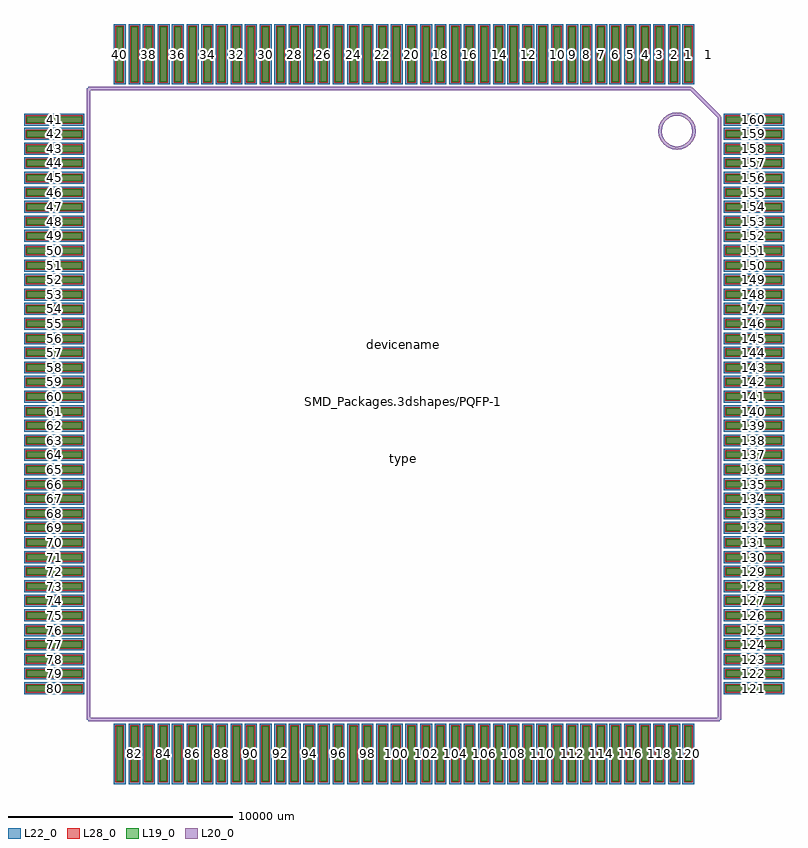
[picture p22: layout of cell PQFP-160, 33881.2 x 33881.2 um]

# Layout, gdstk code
import gdstk
lib = gdstk.Library(unit=1e-6, precision=1e-09)
def R(c, l, rs):  # rectangles x0, y0, x1, y1
    for r in rs: c.add(gdstk.rectangle(r[:2], r[2:], *l))
def A(c, l, x, y, w, h, nx, ny, dx, dy):  # array of equal rectangles
    R(c, l, [(x+i*dx, y+j*dy, x+i*dx+w, y+j*dy+h) for i in range(nx) for j in range(ny)])
L19_0 = (19, 0)
L20_0 = (20, 0)
L22_0 = (22, 0)
L28_0 = (28, 0)

pqfp_160 = lib.new_cell('PQFP-160')
A(pqfp_160, L19_0, -10198.9, -16917.2, 281, 2440, 3, 2, 660.4, 31191.2)
A(pqfp_160, L19_0, -6947.7, -16917.2, 281, 2440, 3, 2, 660.4, 31191.2)
A(pqfp_160, L19_0, -3696.5, -16917.2, 281, 2440, 3, 2, 660.4, 31191.2)
A(pqfp_160, L19_0, -445.3, -16917.2, 281, 2440, 3, 2, 660.4, 31191.2)
A(pqfp_160, L19_0, 2805.9, -16917.2, 281, 2440, 3, 2, 660.4, 31191.2)
A(pqfp_160, L19_0, 6057.1, -16917.2, 281, 2440, 3, 2, 660.4, 31191.2)
A(pqfp_160, L19_0, 9308.3, -16917.2, 281, 2440, 3, 2, 660.4, 31191.2)
A(pqfp_160, L19_0, -16790.2, -10325.9, 2440, 281, 1, 3, 0, 660.4)
A(pqfp_160, L19_0, 14401, -10325.9, 2440, 281, 1, 3, 0, 660.4)
A(pqfp_160, L19_0, -16790.2, -7074.7, 2440, 281, 1, 3, 0, 660.4)
A(pqfp_160, L19_0, 14401, -7074.7, 2440, 281, 1, 3, 0, 660.4)
A(pqfp_160, L19_0, -16790.2, -3823.5, 2440, 281, 1, 3, 0, 660.4)
A(pqfp_160, L19_0, 14401, -3823.5, 2440, 281, 1, 3, 0, 660.4)
A(pqfp_160, L19_0, -16790.2, -572.3, 2440, 281, 1, 3, 0, 660.4)
A(pqfp_160, L19_0, 14401, -572.3, 2440, 281, 1, 3, 0, 660.4)
A(pqfp_160, L19_0, -16790.2, 2678.9, 2440, 281, 1, 3, 0, 660.4)
A(pqfp_160, L19_0, 14401, 2678.9, 2440, 281, 1, 3, 0, 660.4)
A(pqfp_160, L19_0, -16790.2, 5930.1, 2440, 281, 1, 3, 0, 660.4)
A(pqfp_160, L19_0, 14401, 5930.1, 2440, 281, 1, 3, 0, 660.4)
A(pqfp_160, L19_0, -16790.2, 9181.3, 2440, 281, 1, 3, 0, 660.4)
A(pqfp_160, L19_0, 14401, 9181.3, 2440, 281, 1, 3, 0, 660.4)
R(pqfp_160, L19_0, [(-12789.7,-16917.2,-12508.7,-14477.2), (-12129.3,-16917.2,-11848.3,-14477.2), (-11494.3,-16917.2,-11213.3,-14477.2), (-10833.9,-16917.2,-10552.9,-14477.2), (-8243.1,-16917.2,-7962.1,-14477.2), (-7582.7,-16917.2,-7301.7,-14477.2), (-4991.9,-16917.2,-4710.9,-14477.2), (-4331.5,-16917.2,-4050.5,-14477.2), (-1740.7,-16917.2,-1459.7,-14477.2), (-1080.3,-16917.2,-799.3,-14477.2), (1510.5,-16917.2,1791.5,-14477.2), (2170.9,-16917.2,2451.9,-14477.2), (4761.7,-16917.2,5042.7,-14477.2), (5422.1,-16917.2,5703.1,-14477.2), (8012.9,-16917.2,8293.9,-14477.2), (8673.3,-16917.2,8954.3,-14477.2), (11264.1,-16917.2,11545.1,-14477.2), (11924.5,-16917.2,12205.5,-14477.2), (12559.5,-16917.2,12840.5,-14477.2), (-16790.2,-12916.7,-14350.2,-12635.7), (14401,-12916.7,16841,-12635.7), (-16790.2,-12256.3,-14350.2,-11975.3), (14401,-12256.3,16841,-11975.3), (-16790.2,-11621.3,-14350.2,-11340.3), (14401,-11621.3,16841,-11340.3), (-16790.2,-10960.9,-14350.2,-10679.9), (14401,-10960.9,16841,-10679.9), (-16790.2,-8370.1,-14350.2,-8089.1), (14401,-8370.1,16841,-8089.1), (-16790.2,-7709.7,-14350.2,-7428.7), (14401,-7709.7,16841,-7428.7), (-16790.2,-5118.9,-14350.2,-4837.9), (14401,-5118.9,16841,-4837.9), (-16790.2,-4458.5,-14350.2,-4177.5), (14401,-4458.5,16841,-4177.5), (-16790.2,-1867.7,-14350.2,-1586.7), (14401,-1867.7,16841,-1586.7), (-16790.2,-1207.3,-14350.2,-926.3), (14401,-1207.3,16841,-926.3), (-16790.2,1383.5,-14350.2,1664.5), (14401,1383.5,16841,1664.5), (-16790.2,2043.9,-14350.2,2324.9), (14401,2043.9,16841,2324.9), (-16790.2,4634.7,-14350.2,4915.7), (14401,4634.7,16841,4915.7), (-16790.2,5295.1,-14350.2,5576.1), (14401,5295.1,16841,5576.1), (-16790.2,7885.9,-14350.2,8166.9), (14401,7885.9,16841,8166.9), (-16790.2,8546.3,-14350.2,8827.3), (14401,8546.3,16841,8827.3), (-16790.2,11137.1,-14350.2,11418.1), (14401,11137.1,16841,11418.1), (-16790.2,11797.5,-14350.2,12078.5), (14401,11797.5,16841,12078.5), (-16790.2,12432.5,-14350.2,12713.5), (14401,12432.5,16841,12713.5), (-12789.7,14274,-12508.7,16714), (-12129.3,14274,-11848.3,16714), (-11494.3,14274,-11213.3,16714), (-10833.9,14274,-10552.9,16714), (-8243.1,14274,-7962.1,16714), (-7582.7,14274,-7301.7,16714), (-4991.9,14274,-4710.9,16714), (-4331.5,14274,-4050.5,16714), (-1740.7,14274,-1459.7,16714), (-1080.3,14274,-799.3,16714), (1510.5,14274,1791.5,16714), (2170.9,14274,2451.9,16714), (4761.7,14274,5042.7,16714), (5422.1,14274,5703.1,16714), (8012.9,14274,8293.9,16714), (8673.3,14274,8954.3,16714), (11264.1,14274,11545.1,16714), (11924.5,14274,12205.5,16714), (12559.5,14274,12840.5,16714)])
A(pqfp_160, L22_0, -10323.9, -17042.2, 531, 2690, 3, 2, 660.4, 31191.2)
A(pqfp_160, L22_0, -7072.7, -17042.2, 531, 2690, 3, 2, 660.4, 31191.2)
A(pqfp_160, L22_0, -3821.5, -17042.2, 531, 2690, 3, 2, 660.4, 31191.2)
A(pqfp_160, L22_0, -570.3, -17042.2, 531, 2690, 3, 2, 660.4, 31191.2)
A(pqfp_160, L22_0, 2680.9, -17042.2, 531, 2690, 3, 2, 660.4, 31191.2)
A(pqfp_160, L22_0, 5932.1, -17042.2, 531, 2690, 3, 2, 660.4, 31191.2)
A(pqfp_160, L22_0, 9183.3, -17042.2, 531, 2690, 3, 2, 660.4, 31191.2)
A(pqfp_160, L22_0, -16915.2, -10450.9, 2690, 531, 1, 3, 0, 660.4)
A(pqfp_160, L22_0, 14276, -10450.9, 2690, 531, 1, 3, 0, 660.4)
A(pqfp_160, L22_0, -16915.2, -7199.7, 2690, 531, 1, 3, 0, 660.4)
A(pqfp_160, L22_0, 14276, -7199.7, 2690, 531, 1, 3, 0, 660.4)
A(pqfp_160, L22_0, -16915.2, -3948.5, 2690, 531, 1, 3, 0, 660.4)
A(pqfp_160, L22_0, 14276, -3948.5, 2690, 531, 1, 3, 0, 660.4)
A(pqfp_160, L22_0, -16915.2, -697.3, 2690, 531, 1, 3, 0, 660.4)
A(pqfp_160, L22_0, 14276, -697.3, 2690, 531, 1, 3, 0, 660.4)
A(pqfp_160, L22_0, -16915.2, 2553.9, 2690, 531, 1, 3, 0, 660.4)
A(pqfp_160, L22_0, 14276, 2553.9, 2690, 531, 1, 3, 0, 660.4)
A(pqfp_160, L22_0, -16915.2, 5805.1, 2690, 531, 1, 3, 0, 660.4)
A(pqfp_160, L22_0, 14276, 5805.1, 2690, 531, 1, 3, 0, 660.4)
A(pqfp_160, L22_0, -16915.2, 9056.3, 2690, 531, 1, 3, 0, 660.4)
A(pqfp_160, L22_0, 14276, 9056.3, 2690, 531, 1, 3, 0, 660.4)
R(pqfp_160, L22_0, [(-12914.7,-17042.2,-12383.7,-14352.2), (-12254.3,-17042.2,-11723.3,-14352.2), (-11619.3,-17042.2,-11088.3,-14352.2), (-10958.9,-17042.2,-10427.9,-14352.2), (-8368.1,-17042.2,-7837.1,-14352.2), (-7707.7,-17042.2,-7176.7,-14352.2), (-5116.9,-17042.2,-4585.9,-14352.2), (-4456.5,-17042.2,-3925.5,-14352.2), (-1865.7,-17042.2,-1334.7,-14352.2), (-1205.3,-17042.2,-674.3,-14352.2), (1385.5,-17042.2,1916.5,-14352.2), (2045.9,-17042.2,2576.9,-14352.2), (4636.7,-17042.2,5167.7,-14352.2), (5297.1,-17042.2,5828.1,-14352.2), (7887.9,-17042.2,8418.9,-14352.2), (8548.3,-17042.2,9079.3,-14352.2), (11139.1,-17042.2,11670.1,-14352.2), (11799.5,-17042.2,12330.5,-14352.2), (12434.5,-17042.2,12965.5,-14352.2), (-16915.2,-13041.7,-14225.2,-12510.7), (14276,-13041.7,16966,-12510.7), (-16915.2,-12381.3,-14225.2,-11850.3), (14276,-12381.3,16966,-11850.3), (-16915.2,-11746.3,-14225.2,-11215.3), (14276,-11746.3,16966,-11215.3), (-16915.2,-11085.9,-14225.2,-10554.9), (14276,-11085.9,16966,-10554.9), (-16915.2,-8495.1,-14225.2,-7964.1), (14276,-8495.1,16966,-7964.1), (-16915.2,-7834.7,-14225.2,-7303.7), (14276,-7834.7,16966,-7303.7), (-16915.2,-5243.9,-14225.2,-4712.9), (14276,-5243.9,16966,-4712.9), (-16915.2,-4583.5,-14225.2,-4052.5), (14276,-4583.5,16966,-4052.5), (-16915.2,-1992.7,-14225.2,-1461.7), (14276,-1992.7,16966,-1461.7), (-16915.2,-1332.3,-14225.2,-801.3), (14276,-1332.3,16966,-801.3), (-16915.2,1258.5,-14225.2,1789.5), (14276,1258.5,16966,1789.5), (-16915.2,1918.9,-14225.2,2449.9), (14276,1918.9,16966,2449.9), (-16915.2,4509.7,-14225.2,5040.7), (14276,4509.7,16966,5040.7), (-16915.2,5170.1,-14225.2,5701.1), (14276,5170.1,16966,5701.1), (-16915.2,7760.9,-14225.2,8291.9), (14276,7760.9,16966,8291.9), (-16915.2,8421.3,-14225.2,8952.3), (14276,8421.3,16966,8952.3), (-16915.2,11012.1,-14225.2,11543.1), (14276,11012.1,16966,11543.1), (-16915.2,11672.5,-14225.2,12203.5), (14276,11672.5,16966,12203.5), (-16915.2,12307.5,-14225.2,12838.5), (14276,12307.5,16966,12838.5), (-12914.7,14149,-12383.7,16839), (-12254.3,14149,-11723.3,16839), (-11619.3,14149,-11088.3,16839), (-10958.9,14149,-10427.9,16839), (-8368.1,14149,-7837.1,16839), (-7707.7,14149,-7176.7,16839), (-5116.9,14149,-4585.9,16839), (-4456.5,14149,-3925.5,16839), (-1865.7,14149,-1334.7,16839), (-1205.3,14149,-674.3,16839), (1385.5,14149,1916.5,16839), (2045.9,14149,2576.9,16839), (4636.7,14149,5167.7,16839), (5297.1,14149,5828.1,16839), (7887.9,14149,8418.9,16839), (8548.3,14149,9079.3,16839), (11139.1,14149,11670.1,16839), (11799.5,14149,12330.5,16839), (12434.5,14149,12965.5,16839)])
A(pqfp_160, L28_0, -10248.9, -16967.2, 381, 2540, 3, 2, 660.4, 31191.2)
A(pqfp_160, L28_0, -6997.7, -16967.2, 381, 2540, 3, 2, 660.4, 31191.2)
A(pqfp_160, L28_0, -3746.5, -16967.2, 381, 2540, 3, 2, 660.4, 31191.2)
A(pqfp_160, L28_0, -495.3, -16967.2, 381, 2540, 3, 2, 660.4, 31191.2)
A(pqfp_160, L28_0, 2755.9, -16967.2, 381, 2540, 3, 2, 660.4, 31191.2)
A(pqfp_160, L28_0, 6007.1, -16967.2, 381, 2540, 3, 2, 660.4, 31191.2)
A(pqfp_160, L28_0, 9258.3, -16967.2, 381, 2540, 3, 2, 660.4, 31191.2)
A(pqfp_160, L28_0, -16840.2, -10375.9, 2540, 381, 1, 3, 0, 660.4)
A(pqfp_160, L28_0, 14351, -10375.9, 2540, 381, 1, 3, 0, 660.4)
A(pqfp_160, L28_0, -16840.2, -7124.7, 2540, 381, 1, 3, 0, 660.4)
A(pqfp_160, L28_0, 14351, -7124.7, 2540, 381, 1, 3, 0, 660.4)
A(pqfp_160, L28_0, -16840.2, -3873.5, 2540, 381, 1, 3, 0, 660.4)
A(pqfp_160, L28_0, 14351, -3873.5, 2540, 381, 1, 3, 0, 660.4)
A(pqfp_160, L28_0, -16840.2, -622.3, 2540, 381, 1, 3, 0, 660.4)
A(pqfp_160, L28_0, 14351, -622.3, 2540, 381, 1, 3, 0, 660.4)
A(pqfp_160, L28_0, -16840.2, 2628.9, 2540, 381, 1, 3, 0, 660.4)
A(pqfp_160, L28_0, 14351, 2628.9, 2540, 381, 1, 3, 0, 660.4)
A(pqfp_160, L28_0, -16840.2, 5880.1, 2540, 381, 1, 3, 0, 660.4)
A(pqfp_160, L28_0, 14351, 5880.1, 2540, 381, 1, 3, 0, 660.4)
A(pqfp_160, L28_0, -16840.2, 9131.3, 2540, 381, 1, 3, 0, 660.4)
A(pqfp_160, L28_0, 14351, 9131.3, 2540, 381, 1, 3, 0, 660.4)
R(pqfp_160, L28_0, [(-12839.7,-16967.2,-12458.7,-14427.2), (-12179.3,-16967.2,-11798.3,-14427.2), (-11544.3,-16967.2,-11163.3,-14427.2), (-10883.9,-16967.2,-10502.9,-14427.2), (-8293.1,-16967.2,-7912.1,-14427.2), (-7632.7,-16967.2,-7251.7,-14427.2), (-5041.9,-16967.2,-4660.9,-14427.2), (-4381.5,-16967.2,-4000.5,-14427.2), (-1790.7,-16967.2,-1409.7,-14427.2), (-1130.3,-16967.2,-749.3,-14427.2), (1460.5,-16967.2,1841.5,-14427.2), (2120.9,-16967.2,2501.9,-14427.2), (4711.7,-16967.2,5092.7,-14427.2), (5372.1,-16967.2,5753.1,-14427.2), (7962.9,-16967.2,8343.9,-14427.2), (8623.3,-16967.2,9004.3,-14427.2), (11214.1,-16967.2,11595.1,-14427.2), (11874.5,-16967.2,12255.5,-14427.2), (12509.5,-16967.2,12890.5,-14427.2), (-16840.2,-12966.7,-14300.2,-12585.7), (14351,-12966.7,16891,-12585.7), (-16840.2,-12306.3,-14300.2,-11925.3), (14351,-12306.3,16891,-11925.3), (-16840.2,-11671.3,-14300.2,-11290.3), (14351,-11671.3,16891,-11290.3), (-16840.2,-11010.9,-14300.2,-10629.9), (14351,-11010.9,16891,-10629.9), (-16840.2,-8420.1,-14300.2,-8039.1), (14351,-8420.1,16891,-8039.1), (-16840.2,-7759.7,-14300.2,-7378.7), (14351,-7759.7,16891,-7378.7), (-16840.2,-5168.9,-14300.2,-4787.9), (14351,-5168.9,16891,-4787.9), (-16840.2,-4508.5,-14300.2,-4127.5), (14351,-4508.5,16891,-4127.5), (-16840.2,-1917.7,-14300.2,-1536.7), (14351,-1917.7,16891,-1536.7), (-16840.2,-1257.3,-14300.2,-876.3), (14351,-1257.3,16891,-876.3), (-16840.2,1333.5,-14300.2,1714.5), (14351,1333.5,16891,1714.5), (-16840.2,1993.9,-14300.2,2374.9), (14351,1993.9,16891,2374.9), (-16840.2,4584.7,-14300.2,4965.7), (14351,4584.7,16891,4965.7), (-16840.2,5245.1,-14300.2,5626.1), (14351,5245.1,16891,5626.1), (-16840.2,7835.9,-14300.2,8216.9), (14351,7835.9,16891,8216.9), (-16840.2,8496.3,-14300.2,8877.3), (14351,8496.3,16891,8877.3), (-16840.2,11087.1,-14300.2,11468.1), (14351,11087.1,16891,11468.1), (-16840.2,11747.5,-14300.2,12128.5), (14351,11747.5,16891,12128.5), (-16840.2,12382.5,-14300.2,12763.5), (14351,12382.5,16891,12763.5), (-12839.7,14224,-12458.7,16764), (-12179.3,14224,-11798.3,16764), (-11544.3,14224,-11163.3,16764), (-10883.9,14224,-10502.9,16764), (-8293.1,14224,-7912.1,16764), (-7632.7,14224,-7251.7,16764), (-5041.9,14224,-4660.9,16764), (-4381.5,14224,-4000.5,16764), (-1790.7,14224,-1409.7,16764), (-1130.3,14224,-749.3,16764), (1460.5,14224,1841.5,16764), (2120.9,14224,2501.9,16764), (4711.7,14224,5092.7,16764), (5372.1,14224,5753.1,16764), (7962.9,14224,8343.9,16764), (8623.3,14224,9004.3,16764), (11214.1,14224,11595.1,16764), (11874.5,14224,12255.5,16764), (12509.5,14224,12890.5,16764)])
pqfp_160.add(gdstk.FlexPath([(12192,11303),(12389.22,11328.965),(12573,11405.089),(12730.815,11526.185),(12851.911,11684),(12928.035,11867.78),(12954,12065),(12928.035,12262.22),(12851.911,12446),(12730.815,12603.815),(12573,12724.911),(12389.22,12801.035),(12192,12827),(11994.78,12801.035),(11811,12724.911),(11653.185,12603.815),(11532.089,12446),(11455.965,12262.22),(11430,12065),(11455.965,11867.78),(11532.089,11684),(11653.185,11526.185),(11811,11405.089),(11994.78,11328.965),(12192,11303)], 149.998, ends="flush", simple_path=True, layer=20, datatype=0))  # L20_0
pqfp_160.add(gdstk.FlexPath([(14097,-14173.2),(14097,12700)], 149.998, ends="flush", simple_path=True, layer=20, datatype=0))  # L20_0
pqfp_160.add(gdstk.FlexPath([(-14046.2,13970),(-14046.2,-14173.2)], 149.998, ends="flush", simple_path=True, layer=20, datatype=0))  # L20_0
pqfp_160.add(gdstk.FlexPath([(12827,13970),(-14046.2,13970)], 149.998, ends="flush", simple_path=True, layer=20, datatype=0))  # L20_0
pqfp_160.add(gdstk.FlexPath([(-14046.2,-14173.2),(14097,-14173.2)], 149.998, ends="flush", simple_path=True, layer=20, datatype=0))  # L20_0
pqfp_160.add(gdstk.FlexPath([(12827,13970),(14097,12700)], 149.998, ends="flush", simple_path=True, layer=20, datatype=0))  # L20_0
pqfp_160.add(gdstk.Label('SMD_Packages.3dshapes/PQFP-160.wrl', (0,0), layer=12, texttype=0))
pqfp_160.add(gdstk.Label('120', (12700,-15697.2), layer=28, texttype=0))
pqfp_160.add(gdstk.Label('119', (12065,-15697.2), layer=28, texttype=0))
pqfp_160.add(gdstk.Label('118', (11404.6,-15697.2), layer=28, texttype=0))
pqfp_160.add(gdstk.Label('117', (10769.6,-15697.2), layer=28, texttype=0))
pqfp_160.add(gdstk.Label('116', (10109.2,-15697.2), layer=28, texttype=0))
pqfp_160.add(gdstk.Label('115', (9448.8,-15697.2), layer=28, texttype=0))
pqfp_160.add(gdstk.Label('114', (8813.8,-15697.2), layer=28, texttype=0))
pqfp_160.add(gdstk.Label('113', (8153.4,-15697.2), layer=28, texttype=0))
pqfp_160.add(gdstk.Label('112', (7518.4,-15697.2), layer=28, texttype=0))
pqfp_160.add(gdstk.Label('111', (6858,-15697.2), layer=28, texttype=0))
pqfp_160.add(gdstk.Label('110', (6197.6,-15697.2), layer=28, texttype=0))
pqfp_160.add(gdstk.Label('109', (5562.6,-15697.2), layer=28, texttype=0))
pqfp_160.add(gdstk.Label('108', (4902.2,-15697.2), layer=28, texttype=0))
pqfp_160.add(gdstk.Label('107', (4267.2,-15697.2), layer=28, texttype=0))
pqfp_160.add(gdstk.Label('106', (3606.8,-15697.2), layer=28, texttype=0))
pqfp_160.add(gdstk.Label('105', (2946.4,-15697.2), layer=28, texttype=0))
pqfp_160.add(gdstk.Label('104', (2311.4,-15697.2), layer=28, texttype=0))
pqfp_160.add(gdstk.Label('103', (1651,-15697.2), layer=28, texttype=0))
pqfp_160.add(gdstk.Label('102', (1016,-15697.2), layer=28, texttype=0))
pqfp_160.add(gdstk.Label('101', (355.6,-15697.2), layer=28, texttype=0))
pqfp_160.add(gdstk.Label('100', (-304.8,-15697.2), layer=28, texttype=0))
pqfp_160.add(gdstk.Label('99', (-939.8,-15697.2), layer=28, texttype=0))
pqfp_160.add(gdstk.Label('98', (-1600.2,-15697.2), layer=28, texttype=0))
pqfp_160.add(gdstk.Label('97', (-2235.2,-15697.2), layer=28, texttype=0))
pqfp_160.add(gdstk.Label('96', (-2895.6,-15697.2), layer=28, texttype=0))
pqfp_160.add(gdstk.Label('95', (-3556,-15697.2), layer=28, texttype=0))
pqfp_160.add(gdstk.Label('94', (-4191,-15697.2), layer=28, texttype=0))
pqfp_160.add(gdstk.Label('93', (-4851.4,-15697.2), layer=28, texttype=0))
pqfp_160.add(gdstk.Label('92', (-5486.4,-15697.2), layer=28, texttype=0))
pqfp_160.add(gdstk.Label('91', (-6146.8,-15697.2), layer=28, texttype=0))
pqfp_160.add(gdstk.Label('90', (-6807.2,-15697.2), layer=28, texttype=0))
pqfp_160.add(gdstk.Label('89', (-7442.2,-15697.2), layer=28, texttype=0))
pqfp_160.add(gdstk.Label('88', (-8102.6,-15697.2), layer=28, texttype=0))
pqfp_160.add(gdstk.Label('87', (-8737.6,-15697.2), layer=28, texttype=0))
pqfp_160.add(gdstk.Label('86', (-9398,-15697.2), layer=28, texttype=0))
pqfp_160.add(gdstk.Label('85', (-10058.4,-15697.2), layer=28, texttype=0))
pqfp_160.add(gdstk.Label('84', (-10693.4,-15697.2), layer=28, texttype=0))
pqfp_160.add(gdstk.Label('83', (-11353.8,-15697.2), layer=28, texttype=0))
pqfp_160.add(gdstk.Label('82', (-11988.8,-15697.2), layer=28, texttype=0))
pqfp_160.add(gdstk.Label('81', (-12649.2,-15697.2), layer=28, texttype=0))
pqfp_160.add(gdstk.Label('160', (15621,12573), layer=28, texttype=0))
pqfp_160.add(gdstk.Label('159', (15621,11938), layer=28, texttype=0))
pqfp_160.add(gdstk.Label('158', (15621,11277.6), layer=28, texttype=0))
pqfp_160.add(gdstk.Label('157', (15621,10642.6), layer=28, texttype=0))
pqfp_160.add(gdstk.Label('156', (15621,9982.2), layer=28, texttype=0))
pqfp_160.add(gdstk.Label('155', (15621,9321.8), layer=28, texttype=0))
pqfp_160.add(gdstk.Label('154', (15621,8686.8), layer=28, texttype=0))
pqfp_160.add(gdstk.Label('153', (15621,8026.4), layer=28, texttype=0))
pqfp_160.add(gdstk.Label('152', (15621,7391.4), layer=28, texttype=0))
pqfp_160.add(gdstk.Label('151', (15621,6731), layer=28, texttype=0))
pqfp_160.add(gdstk.Label('150', (15621,6070.6), layer=28, texttype=0))
pqfp_160.add(gdstk.Label('149', (15621,5435.6), layer=28, texttype=0))
pqfp_160.add(gdstk.Label('148', (15621,4775.2), layer=28, texttype=0))
pqfp_160.add(gdstk.Label('147', (15621,4140.2), layer=28, texttype=0))
pqfp_160.add(gdstk.Label('146', (15621,3479.8), layer=28, texttype=0))
pqfp_160.add(gdstk.Label('145', (15621,2819.4), layer=28, texttype=0))
pqfp_160.add(gdstk.Label('144', (15621,2184.4), layer=28, texttype=0))
pqfp_160.add(gdstk.Label('143', (15621,1524), layer=28, texttype=0))
pqfp_160.add(gdstk.Label('142', (15621,889), layer=28, texttype=0))
pqfp_160.add(gdstk.Label('141', (15621,228.6), layer=28, texttype=0))
pqfp_160.add(gdstk.Label('140', (15621,-431.8), layer=28, texttype=0))
pqfp_160.add(gdstk.Label('139', (15621,-1066.8), layer=28, texttype=0))
pqfp_160.add(gdstk.Label('138', (15621,-1727.2), layer=28, texttype=0))
pqfp_160.add(gdstk.Label('137', (15621,-2362.2), layer=28, texttype=0))
pqfp_160.add(gdstk.Label('136', (15621,-3022.6), layer=28, texttype=0))
pqfp_160.add(gdstk.Label('135', (15621,-3683), layer=28, texttype=0))
pqfp_160.add(gdstk.Label('134', (15621,-4318), layer=28, texttype=0))
pqfp_160.add(gdstk.Label('133', (15621,-4978.4), layer=28, texttype=0))
pqfp_160.add(gdstk.Label('132', (15621,-5613.4), layer=28, texttype=0))
pqfp_160.add(gdstk.Label('131', (15621,-6273.8), layer=28, texttype=0))
pqfp_160.add(gdstk.Label('130', (15621,-6934.2), layer=28, texttype=0))
pqfp_160.add(gdstk.Label('129', (15621,-7569.2), layer=28, texttype=0))
pqfp_160.add(gdstk.Label('128', (15621,-8229.6), layer=28, texttype=0))
pqfp_160.add(gdstk.Label('127', (15621,-8864.6), layer=28, texttype=0))
pqfp_160.add(gdstk.Label('126', (15621,-9525), layer=28, texttype=0))
pqfp_160.add(gdstk.Label('125', (15621,-10185.4), layer=28, texttype=0))
pqfp_160.add(gdstk.Label('124', (15621,-10820.4), layer=28, texttype=0))
pqfp_160.add(gdstk.Label('123', (15621,-11480.8), layer=28, texttype=0))
pqfp_160.add(gdstk.Label('122', (15621,-12115.8), layer=28, texttype=0))
pqfp_160.add(gdstk.Label('121', (15621,-12776.2), layer=28, texttype=0))
pqfp_160.add(gdstk.Label('80', (-15570.2,-12776.2), layer=28, texttype=0))
pqfp_160.add(gdstk.Label('79', (-15570.2,-12115.8), layer=28, texttype=0))
pqfp_160.add(gdstk.Label('78', (-15570.2,-11480.8), layer=28, texttype=0))
pqfp_160.add(gdstk.Label('77', (-15570.2,-10820.4), layer=28, texttype=0))
pqfp_160.add(gdstk.Label('76', (-15570.2,-10185.4), layer=28, texttype=0))
pqfp_160.add(gdstk.Label('75', (-15570.2,-9525), layer=28, texttype=0))
pqfp_160.add(gdstk.Label('74', (-15570.2,-8864.6), layer=28, texttype=0))
pqfp_160.add(gdstk.Label('73', (-15570.2,-8229.6), layer=28, texttype=0))
pqfp_160.add(gdstk.Label('72', (-15570.2,-7569.2), layer=28, texttype=0))
pqfp_160.add(gdstk.Label('71', (-15570.2,-6934.2), layer=28, texttype=0))
pqfp_160.add(gdstk.Label('70', (-15570.2,-6273.8), layer=28, texttype=0))
pqfp_160.add(gdstk.Label('69', (-15570.2,-5613.4), layer=28, texttype=0))
pqfp_160.add(gdstk.Label('68', (-15570.2,-4978.4), layer=28, texttype=0))
pqfp_160.add(gdstk.Label('67', (-15570.2,-4318), layer=28, texttype=0))
pqfp_160.add(gdstk.Label('66', (-15570.2,-3683), layer=28, texttype=0))
pqfp_160.add(gdstk.Label('65', (-15570.2,-3022.6), layer=28, texttype=0))
pqfp_160.add(gdstk.Label('64', (-15570.2,-2362.2), layer=28, texttype=0))
pqfp_160.add(gdstk.Label('63', (-15570.2,-1727.2), layer=28, texttype=0))
pqfp_160.add(gdstk.Label('62', (-15570.2,-1066.8), layer=28, texttype=0))
pqfp_160.add(gdstk.Label('61', (-15570.2,-431.8), layer=28, texttype=0))
pqfp_160.add(gdstk.Label('60', (-15570.2,228.6), layer=28, texttype=0))
pqfp_160.add(gdstk.Label('59', (-15570.2,889), layer=28, texttype=0))
pqfp_160.add(gdstk.Label('58', (-15570.2,1524), layer=28, texttype=0))
pqfp_160.add(gdstk.Label('57', (-15570.2,2184.4), layer=28, texttype=0))
pqfp_160.add(gdstk.Label('56', (-15570.2,2819.4), layer=28, texttype=0))
pqfp_160.add(gdstk.Label('55', (-15570.2,3479.8), layer=28, texttype=0))
pqfp_160.add(gdstk.Label('54', (-15570.2,4140.2), layer=28, texttype=0))
pqfp_160.add(gdstk.Label('53', (-15570.2,4775.2), layer=28, texttype=0))
pqfp_160.add(gdstk.Label('52', (-15570.2,5435.6), layer=28, texttype=0))
pqfp_160.add(gdstk.Label('51', (-15570.2,6070.6), layer=28, texttype=0))
pqfp_160.add(gdstk.Label('50', (-15570.2,6731), layer=28, texttype=0))
pqfp_160.add(gdstk.Label('49', (-15570.2,7391.4), layer=28, texttype=0))
pqfp_160.add(gdstk.Label('48', (-15570.2,8026.4), layer=28, texttype=0))
pqfp_160.add(gdstk.Label('47', (-15570.2,8686.8), layer=28, texttype=0))
pqfp_160.add(gdstk.Label('46', (-15570.2,9321.8), layer=28, texttype=0))
pqfp_160.add(gdstk.Label('45', (-15570.2,9982.2), layer=28, texttype=0))
pqfp_160.add(gdstk.Label('44', (-15570.2,10642.6), layer=28, texttype=0))
pqfp_160.add(gdstk.Label('43', (-15570.2,11277.6), layer=28, texttype=0))
pqfp_160.add(gdstk.Label('42', (-15570.2,11938), layer=28, texttype=0))
pqfp_160.add(gdstk.Label('41', (-15570.2,12573), layer=28, texttype=0))
pqfp_160.add(gdstk.Label('40', (-12649.2,15494), layer=28, texttype=0))
pqfp_160.add(gdstk.Label('39', (-11988.8,15494), layer=28, texttype=0))
pqfp_160.add(gdstk.Label('38', (-11353.8,15494), layer=28, texttype=0))
pqfp_160.add(gdstk.Label('37', (-10693.4,15494), layer=28, texttype=0))
pqfp_160.add(gdstk.Label('36', (-10058.4,15494), layer=28, texttype=0))
pqfp_160.add(gdstk.Label('35', (-9398,15494), layer=28, texttype=0))
pqfp_160.add(gdstk.Label('34', (-8737.6,15494), layer=28, texttype=0))
pqfp_160.add(gdstk.Label('33', (-8102.6,15494), layer=28, texttype=0))
pqfp_160.add(gdstk.Label('32', (-7442.2,15494), layer=28, texttype=0))
pqfp_160.add(gdstk.Label('31', (-6807.2,15494), layer=28, texttype=0))
pqfp_160.add(gdstk.Label('30', (-6146.8,15494), layer=28, texttype=0))
pqfp_160.add(gdstk.Label('29', (-5486.4,15494), layer=28, texttype=0))
pqfp_160.add(gdstk.Label('28', (-4851.4,15494), layer=28, texttype=0))
pqfp_160.add(gdstk.Label('27', (-4191,15494), layer=28, texttype=0))
pqfp_160.add(gdstk.Label('26', (-3556,15494), layer=28, texttype=0))
pqfp_160.add(gdstk.Label('25', (-2895.6,15494), layer=28, texttype=0))
pqfp_160.add(gdstk.Label('24', (-2235.2,15494), layer=28, texttype=0))
pqfp_160.add(gdstk.Label('23', (-1600.2,15494), layer=28, texttype=0))
pqfp_160.add(gdstk.Label('22', (-939.8,15494), layer=28, texttype=0))
pqfp_160.add(gdstk.Label('21', (-304.8,15494), layer=28, texttype=0))
pqfp_160.add(gdstk.Label('20', (355.6,15494), layer=28, texttype=0))
pqfp_160.add(gdstk.Label('19', (1016,15494), layer=28, texttype=0))
pqfp_160.add(gdstk.Label('18', (1651,15494), layer=28, texttype=0))
pqfp_160.add(gdstk.Label('17', (2311.4,15494), layer=28, texttype=0))
pqfp_160.add(gdstk.Label('16', (2946.4,15494), layer=28, texttype=0))
pqfp_160.add(gdstk.Label('15', (3606.8,15494), layer=28, texttype=0))
pqfp_160.add(gdstk.Label('14', (4267.2,15494), layer=28, texttype=0))
pqfp_160.add(gdstk.Label('13', (4902.2,15494), layer=28, texttype=0))
pqfp_160.add(gdstk.Label('12', (5562.6,15494), layer=28, texttype=0))
pqfp_160.add(gdstk.Label('11', (6197.6,15494), layer=28, texttype=0))
pqfp_160.add(gdstk.Label('10', (6858,15494), layer=28, texttype=0))
pqfp_160.add(gdstk.Label('9', (7518.4,15494), layer=28, texttype=0))
pqfp_160.add(gdstk.Label('8', (8153.4,15494), layer=28, texttype=0))
pqfp_160.add(gdstk.Label('7', (8813.8,15494), layer=28, texttype=0))
pqfp_160.add(gdstk.Label('6', (9448.8,15494), layer=28, texttype=0))
pqfp_160.add(gdstk.Label('5', (10109.2,15494), layer=28, texttype=0))
pqfp_160.add(gdstk.Label('4', (10769.6,15494), layer=28, texttype=0))
pqfp_160.add(gdstk.Label('3', (11404.6,15494), layer=28, texttype=0))
pqfp_160.add(gdstk.Label('2', (12065,15494), layer=28, texttype=0))
pqfp_160.add(gdstk.Label('1', (12700,15494), layer=28, texttype=0))
pqfp_160.add(gdstk.Label('1', (13589,15494), layer=9, texttype=0))
pqfp_160.add(gdstk.Label('type', (0,-2540), layer=9, texttype=0))
pqfp_160.add(gdstk.Label('devicename', (0,2540), layer=9, texttype=0))

lib.write_gds('PQFP-160.gds')
